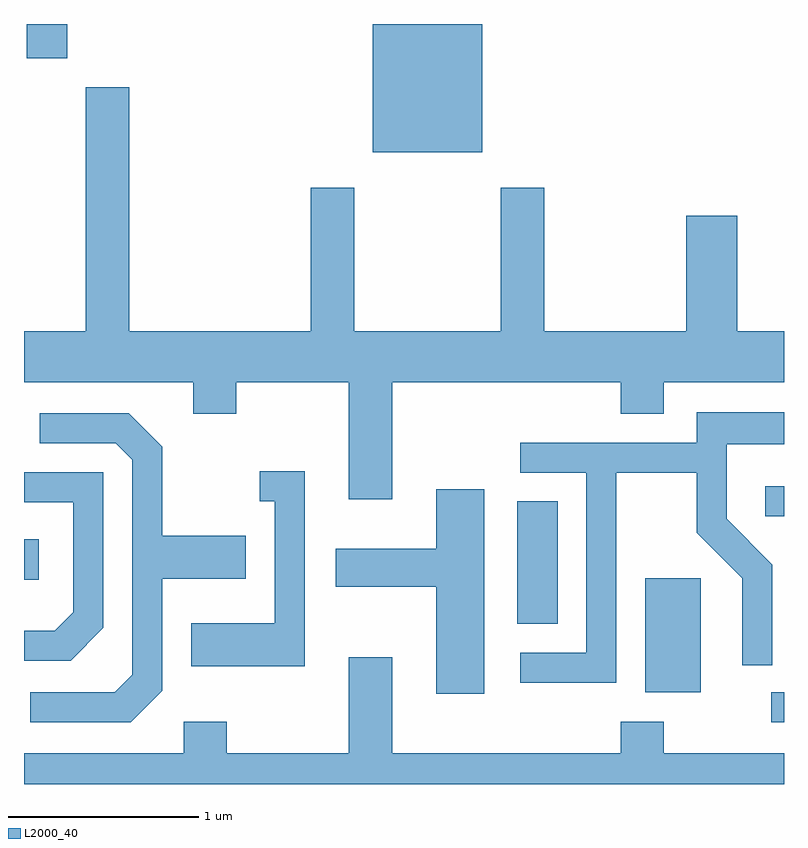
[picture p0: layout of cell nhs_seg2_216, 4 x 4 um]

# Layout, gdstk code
import gdstk
lib = gdstk.Library(unit=1e-6, precision=1e-09)
def R(c, l, rs):  # rectangles x0, y0, x1, y1
    for r in rs: c.add(gdstk.rectangle(r[:2], r[2:], *l))
def P(c, l, *ps):  # polygons
    for p in ps: c.add(gdstk.Polygon(p, *l))
L2000_40 = (2000, 40)

nhs_seg2_216 = lib.new_cell('nhs_seg2_216')
R(nhs_seg2_216, L2000_40, [(195.543,1002.126,195.611,1002.284), (194.881,1002.286,195.174,1002.884), (194.206,1002.646,194.419,1003.289), (191.611,1002.876,191.689,1003.089), (195.513,1003.211,195.611,1003.369), (193.446,1005.126,194.024,1005.802), (191.626,1005.621,191.839,1005.802)])
P(nhs_seg2_216, L2000_40, [(193.549,1003.916),(194.751,1003.916),(194.751,1003.751),(194.979,1003.751),(194.979,1003.916),(195.611,1003.916),(195.611,1004.184),(195.364,1004.184),(195.364,1004.794),(195.096,1004.794),(195.096,1004.184),(194.349,1004.184),(194.349,1004.939),(194.121,1004.939),(194.121,1004.184),(193.349,1004.184),(193.349,1004.939),(193.121,1004.939),(193.121,1004.184),(192.164,1004.184),(192.164,1005.469),(191.936,1005.469),(191.936,1004.184),(191.611,1004.184),(191.611,1003.916),(192.501,1003.916),(192.501,1003.751),(192.729,1003.751),(192.729,1003.916),(193.321,1003.916),(193.321,1003.301),(193.549,1003.301)],
  [(194.729,1003.441),(195.151,1003.441),(195.151,1003.124),(195.391,1002.884),(195.391,1002.428),(195.549,1002.428),(195.549,1002.957),(195.309,1003.197),(195.309,1003.591),(195.611,1003.591),(195.611,1003.759),(195.151,1003.759),(195.151,1003.599),(194.223,1003.599),(194.223,1003.441),(194.571,1003.441),(194.571,1002.494),(194.223,1002.494),(194.223,1002.336),(194.729,1002.336)],
  [(192.339,1002.294),(192.339,1002.881),(192.779,1002.881),(192.779,1003.109),(192.339,1003.109),(192.339,1003.577),(192.162,1003.754),(191.693,1003.754),(191.693,1003.596),(192.094,1003.596),(192.181,1003.509),(192.181,1002.377),(192.089,1002.284),(191.643,1002.284),(191.643,1002.126),(192.172,1002.126)],
  [(193.089,1003.449),(192.853,1003.449),(192.853,1003.291),(192.931,1003.291),(192.931,1002.649),(192.491,1002.649),(192.491,1002.421),(193.089,1002.421)],
  [(192.029,1002.624),(192.029,1003.444),(191.611,1003.444),(191.611,1003.286),(191.871,1003.286),(191.871,1002.707),(191.774,1002.609),(191.611,1002.609),(191.611,1002.451),(191.857,1002.451)],
  [(194.034,1003.354),(193.781,1003.354),(193.781,1003.039),(193.251,1003.039),(193.251,1002.841),(193.781,1002.841),(193.781,1002.276),(194.034,1002.276)],
  [(195.611,1001.964),(194.979,1001.964),(194.979,1002.129),(194.751,1002.129),(194.751,1001.964),(193.549,1001.964),(193.549,1002.469),(193.321,1002.469),(193.321,1001.964),(192.679,1001.964),(192.679,1002.129),(192.451,1002.129),(192.451,1001.964),(191.611,1001.964),(191.611,1001.802),(195.611,1001.802)])

lib.write_gds('nhs_seg2_216.gds')
